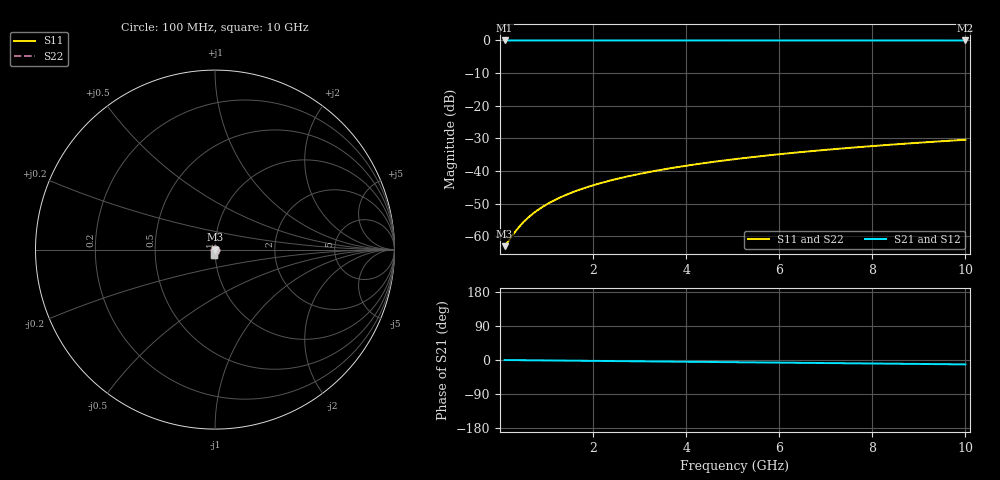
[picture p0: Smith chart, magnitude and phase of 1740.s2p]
# Hz S RI R 50.00
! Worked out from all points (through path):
!   100 points, 100 MHz to 10 GHz, reference 50 ohm
!   highest |S21| = -0.01 dB at 100 MHz (marker M1); lowest = 0.0 dB at 10 GHz (marker M2)
!   group delay of S21, straight-line fit = 3.21 ps
!   lowest |S11| = -63.1 dB at 100 MHz (marker M3), VSWR 1.00, Z = 50.1 - j0.03 ohm
!   |S11| at or under -10 dB: start of sweep to end of sweep
!   |S22| runs from -63.1 to -30.5 dB; largest |S21 - S12| = 0
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1e8  0.000635 -0.0003  0.9994 -0.002  0.9994 -0.002  0.000635 -0.0003
3e8  0.000635 -0.0009  0.9993 -0.00601  0.9993 -0.00601  0.000635 -0.0009
4e8  0.000632 -0.0012  0.9993 -0.00801  0.9993 -0.00801  0.000632 -0.0012
5e8  0.000628 -0.0015  0.9993 -0.01  0.9993 -0.01  0.000628 -0.0015
6e8  0.000622 -0.0018  0.9993 -0.012  0.9993 -0.012  0.000622 -0.0018
7e8  0.000615 -0.0021  0.9992 -0.014  0.9992 -0.014  0.000615 -0.0021
8e8  0.000607 -0.0024  0.9992 -0.016  0.9992 -0.016  0.000607 -0.0024
1e9  0.000586 -0.003  0.9991 -0.02  0.9991 -0.02  0.000586 -0.003
1.2e9  0.00056 -0.0036  0.999 -0.024  0.999 -0.024  0.00056 -0.0036
1.5e9  0.000512 -0.0045  0.9989 -0.0301  0.9989 -0.0301  0.000512 -0.0045
1.8e9  0.000452 -0.0054  0.9986 -0.0361  0.9986 -0.0361  0.000452 -0.0054
2.1e9  0.000381 -0.0063  0.9984 -0.0421  0.9984 -0.0421  0.000381 -0.0063
2.5e9  0.00027 -0.0075  0.998 -0.0501  0.998 -0.0501  0.00027 -0.0075
2.9e9  0.000139 -0.0087  0.9976 -0.0581  0.9976 -0.0581  0.000139 -0.0087
3.4e9  -5.19e-05 -0.0102  0.9969 -0.0681  0.9969 -0.0681  -5.19e-05 -0.0102
4.2e9  -0.000421 -0.0126  0.9956 -0.0842  0.9956 -0.0842  -0.000421 -0.0126
5.1e9  -0.000929 -0.0153  0.9939 -0.1022  0.9939 -0.1022  -0.000929 -0.0153
5.9e9  -0.00146 -0.0176  0.9921 -0.1182  0.9921 -0.1182  -0.00146 -0.0176
6.7e9  -0.00207 -0.02  0.99 -0.1342  0.99 -0.1342  -0.00207 -0.02
7.5e9  -0.00276 -0.0223  0.9876 -0.1502  0.9876 -0.1502  -0.00276 -0.0223
8.4e9  -0.00363 -0.025  0.9846 -0.1682  0.9846 -0.1682  -0.00363 -0.025
1e10  -0.0054 -0.0295  0.9785 -0.2  0.9785 -0.2  -0.0054 -0.0295
